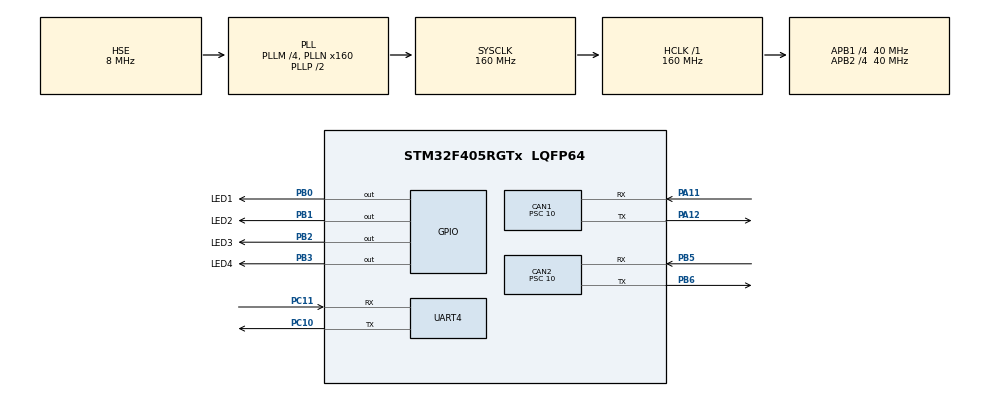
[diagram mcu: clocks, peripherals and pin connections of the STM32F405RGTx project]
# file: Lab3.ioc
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CAN1.ABOM=ENABLE
CAN1.AWUM=ENABLE
CAN1.BS1=CAN_BS1_3TQ
CAN1.BS2=CAN_BS2_4TQ
CAN1.CalculateBaudRate=500000
CAN1.CalculateTimeBit=2000
CAN1.CalculateTimeQuantum=250.0
CAN1.Prescaler=10
CAN1.SJW=CAN_SJW_2TQ
CAN2.ABOM=ENABLE
CAN2.AWUM=ENABLE
CAN2.BS1=CAN_BS1_3TQ
CAN2.BS2=CAN_BS2_4TQ
CAN2.CalculateBaudRate=500000
CAN2.CalculateTimeBit=2000
CAN2.CalculateTimeQuantum=250.0
CAN2.Prescaler=10
CAN2.SJW=CAN_SJW_2TQ
Mcu.Family=STM32F4
Mcu.Name=STM32F405RGTx
Mcu.Package=LQFP64
NVIC.PriorityGroup=NVIC_PRIORITYGROUP_4
PA11.Mode=CAN_Activate
PA11.Signal=CAN1_RX
PA12.Mode=CAN_Activate
PA12.Signal=CAN1_TX
PB0.GPIO_Label=LED1
PB0.Signal=GPIO_Output
PB1.GPIO_Label=LED2
PB1.Signal=GPIO_Output
PB2.GPIO_Label=LED3
PB2.Signal=GPIO_Output
PB3.GPIO_Label=LED4
PB3.Signal=GPIO_Output
PB5.Mode=CAN_Activate
PB5.Signal=CAN2_RX
PB6.Mode=CAN_Activate
PB6.Signal=CAN2_TX
PC10.Mode=Asynchronous
PC10.Signal=UART4_TX
PC11.Mode=Asynchronous
PC11.Signal=UART4_RX
PH0-OSC_IN.Mode=HSE-External-Oscillator
PH0-OSC_IN.Signal=RCC_OSC_IN
PH1-OSC_OUT.Mode=HSE-External-Oscillator
PH1-OSC_OUT.Signal=RCC_OSC_OUT
ProjectManager.HeapSize=0x200
ProjectManager.StackSize=0x400
ProjectManager.TargetToolchain=STM32CubeIDE
RCC.48MHZClocksFreq_Value=80000000
RCC.AHBFreq_Value=160000000
RCC.APB1CLKDivider=RCC_HCLK_DIV4
RCC.APB1Freq_Value=40000000
RCC.APB1TimFreq_Value=80000000
RCC.APB2CLKDivider=RCC_HCLK_DIV4
RCC.APB2Freq_Value=40000000
RCC.APB2TimFreq_Value=80000000
RCC.CortexFreq_Value=160000000
RCC.HCLKFreq_Value=160000000
RCC.HSE_VALUE=8000000
RCC.HSI_VALUE=16000000
RCC.LSE_VALUE=32768
RCC.PLLM=4
RCC.PLLN=160
RCC.PLLSourceVirtual=RCC_PLLSOURCE_HSE
RCC.SYSCLKFreq_VALUE=160000000
RCC.SYSCLKSource=RCC_SYSCLKSOURCE_PLLCLK
RCC.VCOOutputFreq_Value=320000000
UART4.VirtualMode=Asynchronous
board=custom

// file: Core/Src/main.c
/* USER CODE BEGIN Header */
/**
 ******************************************************************************
 * @file           : main.c
 * @brief          : Main program body
 ******************************************************************************
 * @attention
 *
 * Copyright (c) 2022 STMicroelectronics.
 * All rights reserved.
 *
 * This software is licensed under terms that can be found in the LICENSE file
 * in the root directory of this software component.
 * If no LICENSE file comes with this software, it is provided AS-IS.
 *
 ******************************************************************************
 */
/* USER CODE END Header */
#include "main.h"

/* USER CODE BEGIN Includes */
#include "stdio.h"
/* USER CODE END Includes */

/* USER CODE BEGIN PD */
#ifdef __GNUC__
/* With GCC/RAISONANCE, small printf (option LD Linker->Libraries->Small printf
 set to 'Yes') calls __io_putchar() */
#define PUTCHAR_PROTOTYPE int __io_putchar(int ch)
#else
#define PUTCHAR_PROTOTYPE int fputc(int ch, FILE *f)
#endif /* __GNUC__ */
/* USER CODE END PD */

CAN_HandleTypeDef hcan1;
CAN_HandleTypeDef hcan2;

UART_HandleTypeDef huart4;

/* USER CODE BEGIN PV */
CAN_TxHeaderTypeDef Node1_TxHeader;
CAN_RxHeaderTypeDef Node1_RxHeader;

CAN_TxHeaderTypeDef Node2_TxHeader;
CAN_RxHeaderTypeDef Node2_RxHeader;

uint32_t TxMsgMailBox;

uint8_t Node1_TX_BUFFER[8] = "Hi CE437";
uint8_t Node1_RX_BUFFER[8];
uint8_t Node2_TX_BUFFER[8] = "Bye Bye!";
uint8_t Node2_RX_BUFFER[8];
/* USER CODE END PV */

void SystemClock_Config(void);
static void MX_GPIO_Init(void);
static void MX_UART4_Init(void);
static void MX_CAN1_Init(void);
static void MX_CAN2_Init(void);

/* USER CODE BEGIN 0 */
void HAL_CAN_RxFifo0MsgPendingCallback(CAN_HandleTypeDef *hcan)
{
    HAL_GPIO_WritePin(LED1_GPIO_Port, LED1_Pin, GPIO_PIN_SET);
    HAL_CAN_GetRxMessage(hcan, CAN_RX_FIFO0, &Node1_RxHeader, Node1_RX_BUFFER);
    if (Node1_RxHeader.DLC == 8) {
        printf("Node1 get data: %s\r\n", Node1_RX_BUFFER);
        HAL_GPIO_WritePin(LED1_GPIO_Port, LED1_Pin, GPIO_PIN_RESET);
    }
}
void HAL_CAN_RxFifo1MsgPendingCallback(CAN_HandleTypeDef *hcan)
{
    HAL_GPIO_WritePin(LED1_GPIO_Port, LED1_Pin, GPIO_PIN_SET);
    HAL_CAN_GetRxMessage(hcan, CAN_RX_FIFO1, &Node2_RxHeader, Node2_RX_BUFFER);
    if (Node2_RxHeader.DLC == 8) {
        printf("Node2 get data: %s\r\n", Node2_RX_BUFFER);
        HAL_GPIO_WritePin(LED1_GPIO_Port, LED1_Pin, GPIO_PIN_RESET);
    }
}
/* USER CODE END 0 */

int main(void)
{

    /* MCU Configuration--------------------------------------------------------*/

    /* Reset of all peripherals, Initializes the Flash interface and the Systick. */
    HAL_Init();

    /* Configure the system clock */
    SystemClock_Config();

    /* Initialize all configured peripherals */
    MX_GPIO_Init();
    MX_UART4_Init();
    MX_CAN1_Init();
    MX_CAN2_Init();
    /* USER CODE BEGIN 2 */
    HAL_CAN_ActivateNotification(&hcan1, CAN_IT_RX_FIFO0_MSG_PENDING);
    HAL_CAN_ActivateNotification(&hcan2, CAN_IT_RX_FIFO1_MSG_PENDING);
    /* USER CODE END 2 */

    /* Infinite loop */
    while (1) {

        /* USER CODE BEGIN 3 */
        HAL_CAN_AddTxMessage(&hcan1, &Node1_TxHeader, Node1_TX_BUFFER,
                             &TxMsgMailBox);
        HAL_CAN_AddTxMessage(&hcan2, &Node2_TxHeader, Node2_TX_BUFFER,
                             &TxMsgMailBox);
    }
    /* USER CODE END 3 */
}

void SystemClock_Config(void)
{
    RCC_OscInitTypeDef RCC_OscInitStruct = {0};
    RCC_ClkInitTypeDef RCC_ClkInitStruct = {0};

    /** Configure the main internal regulator output voltage
     */
    __HAL_RCC_PWR_CLK_ENABLE();
    __HAL_PWR_VOLTAGESCALING_CONFIG(PWR_REGULATOR_VOLTAGE_SCALE1);

    /** Initializes the RCC Oscillators according to the specified parameters
     * in the RCC_OscInitTypeDef structure.
     */
    RCC_OscInitStruct.OscillatorType = RCC_OSCILLATORTYPE_HSE;
    RCC_OscInitStruct.HSEState = RCC_HSE_ON;
    RCC_OscInitStruct.PLL.PLLState = RCC_PLL_ON;
    RCC_OscInitStruct.PLL.PLLSource = RCC_PLLSOURCE_HSE;
    RCC_OscInitStruct.PLL.PLLM = 4;
    RCC_OscInitStruct.PLL.PLLN = 160;
    RCC_OscInitStruct.PLL.PLLP = RCC_PLLP_DIV2;
    RCC_OscInitStruct.PLL.PLLQ = 4;
    if (HAL_RCC_OscConfig(&RCC_OscInitStruct) != HAL_OK) {
        Error_Handler();
    }

    /** Initializes the CPU, AHB and APB buses clocks
     */
    RCC_ClkInitStruct.ClockType = RCC_CLOCKTYPE_HCLK | RCC_CLOCKTYPE_SYSCLK | RCC_CLOCKTYPE_PCLK1 | RCC_CLOCKTYPE_PCLK2;
    RCC_ClkInitStruct.SYSCLKSource = RCC_SYSCLKSOURCE_PLLCLK;
    RCC_ClkInitStruct.AHBCLKDivider = RCC_SYSCLK_DIV1;
    RCC_ClkInitStruct.APB1CLKDivider = RCC_HCLK_DIV4;
    RCC_ClkInitStruct.APB2CLKDivider = RCC_HCLK_DIV4;

    if (HAL_RCC_ClockConfig(&RCC_ClkInitStruct, FLASH_LATENCY_5) != HAL_OK) {
        Error_Handler();
    }
}

static void MX_CAN1_Init(void)
{

    /* USER CODE BEGIN CAN1_Init 0 */
    Node1_TxHeader.IDE = CAN_ID_STD;
    Node1_TxHeader.StdId = 0x555;
    Node1_TxHeader.RTR = CAN_RTR_DATA;
    Node1_TxHeader.DLC = 8;

    /* USER CODE END CAN1_Init 0 */

    hcan1.Instance = CAN1;
    hcan1.Init.Prescaler = 10;
    hcan1.Init.Mode = CAN_MODE_NORMAL;
    hcan1.Init.SyncJumpWidth = CAN_SJW_2TQ;
    hcan1.Init.TimeSeg1 = CAN_BS1_3TQ;
    hcan1.Init.TimeSeg2 = CAN_BS2_4TQ;
    hcan1.Init.TimeTriggeredMode = DISABLE;
    hcan1.Init.AutoBusOff = ENABLE;
    hcan1.Init.AutoWakeUp = ENABLE;
    hcan1.Init.AutoRetransmission = DISABLE;
    hcan1.Init.ReceiveFifoLocked = DISABLE;
    hcan1.Init.TransmitFifoPriority = DISABLE;
    if (HAL_CAN_Init(&hcan1) != HAL_OK) {
        Error_Handler();
    }
    /* USER CODE BEGIN CAN1_Init 2 */
    CAN_FilterTypeDef canfilterconfig;
    canfilterconfig.FilterActivation = ENABLE;
    canfilterconfig.FilterBank = 18;
    canfilterconfig.FilterFIFOAssignment = CAN_FILTER_FIFO0;
    canfilterconfig.FilterIdHigh = 0x555 << 5;
    canfilterconfig.FilterIdLow = 0;
    canfilterconfig.FilterMaskIdHigh = 0x555 << 5;
    canfilterconfig.FilterMaskIdLow = 0;
    canfilterconfig.FilterMode = CAN_FILTERMODE_IDMASK;
    canfilterconfig.FilterScale = CAN_FILTERSCALE_32BIT;
    canfilterconfig.SlaveStartFilterBank = 20;

    HAL_CAN_ConfigFilter(&hcan1, &canfilterconfig);
    /* USER CODE END CAN1_Init 2 */
}

static void MX_CAN2_Init(void)
{

    /* USER CODE BEGIN CAN2_Init 0 */
    Node2_TxHeader.IDE = CAN_ID_STD;
    Node2_TxHeader.StdId = 0x2AA;
    Node2_TxHeader.RTR = CAN_RTR_DATA;
    Node2_TxHeader.DLC = 8;
    /* USER CODE END CAN2_Init 0 */

    hcan2.Instance = CAN2;
    hcan2.Init.Prescaler = 10;
    hcan2.Init.Mode = CAN_MODE_NORMAL;
    hcan2.Init.SyncJumpWidth = CAN_SJW_2TQ;
    hcan2.Init.TimeSeg1 = CAN_BS1_3TQ;
    hcan2.Init.TimeSeg2 = CAN_BS2_4TQ;
    hcan2.Init.TimeTriggeredMode = DISABLE;
    hcan2.Init.AutoBusOff = ENABLE;
    hcan2.Init.AutoWakeUp = ENABLE;
    hcan2.Init.AutoRetransmission = DISABLE;
    hcan2.Init.ReceiveFifoLocked = DISABLE;
    hcan2.Init.TransmitFifoPriority = DISABLE;
    if (HAL_CAN_Init(&hcan2) != HAL_OK) {
        Error_Handler();
    }
    /* USER CODE BEGIN CAN2_Init 2 */
    CAN_FilterTypeDef canfilterconfig;
    canfilterconfig.FilterActivation = ENABLE;
    canfilterconfig.FilterBank = 10;
    canfilterconfig.FilterFIFOAssignment = CAN_FILTER_FIFO1;
    canfilterconfig.FilterIdHigh = 0x2AA << 5;
    canfilterconfig.FilterIdLow = 0;
    canfilterconfig.FilterMaskIdHigh = 0x2AA << 5;
    canfilterconfig.FilterMaskIdLow = 0;
    canfilterconfig.FilterMode = CAN_FILTERMODE_IDMASK;
    canfilterconfig.FilterScale = CAN_FILTERSCALE_32BIT;
    canfilterconfig.SlaveStartFilterBank = 0;

    HAL_CAN_ConfigFilter(&hcan2, &canfilterconfig);
    /* USER CODE END CAN2_Init 2 */
}

static void MX_UART4_Init(void)
{

    huart4.Instance = UART4;
    huart4.Init.BaudRate = 115200;
    huart4.Init.WordLength = UART_WORDLENGTH_8B;
    huart4.Init.StopBits = UART_STOPBITS_1;
    huart4.Init.Parity = UART_PARITY_NONE;
    huart4.Init.Mode = UART_MODE_TX_RX;
    huart4.Init.HwFlowCtl = UART_HWCONTROL_NONE;
    huart4.Init.OverSampling = UART_OVERSAMPLING_16;
    if (HAL_UART_Init(&huart4) != HAL_OK) {
        Error_Handler();
    }
}

static void MX_GPIO_Init(void)
{
    GPIO_InitTypeDef GPIO_InitStruct = {0};

    /* GPIO Ports Clock Enable */
    __HAL_RCC_GPIOH_CLK_ENABLE();
    __HAL_RCC_GPIOB_CLK_ENABLE();
    __HAL_RCC_GPIOA_CLK_ENABLE();
    __HAL_RCC_GPIOC_CLK_ENABLE();

    /*Configure GPIO pin Output Level */
    HAL_GPIO_WritePin(GPIOB, LED1_Pin | LED2_Pin | LED3_Pin | LED4_Pin, GPIO_PIN_RESET);

    /*Configure GPIO pins : LED1_Pin LED2_Pin LED3_Pin LED4_Pin */
    GPIO_InitStruct.Pin = LED1_Pin | LED2_Pin | LED3_Pin | LED4_Pin;
    GPIO_InitStruct.Mode = GPIO_MODE_OUTPUT_PP;
    GPIO_InitStruct.Pull = GPIO_NOPULL;
    GPIO_InitStruct.Speed = GPIO_SPEED_FREQ_LOW;
    HAL_GPIO_Init(GPIOB, &GPIO_InitStruct);
}

/* USER CODE BEGIN 4 */
PUTCHAR_PROTOTYPE
{
    HAL_UART_Transmit(&huart4, (uint8_t *)&ch, sizeof(ch) - 1, HAL_MAX_DELAY);
    return ch;
}
/* USER CODE END 4 */

void Error_Handler(void)
{
    __disable_irq();
    while (1) {
    }
}
